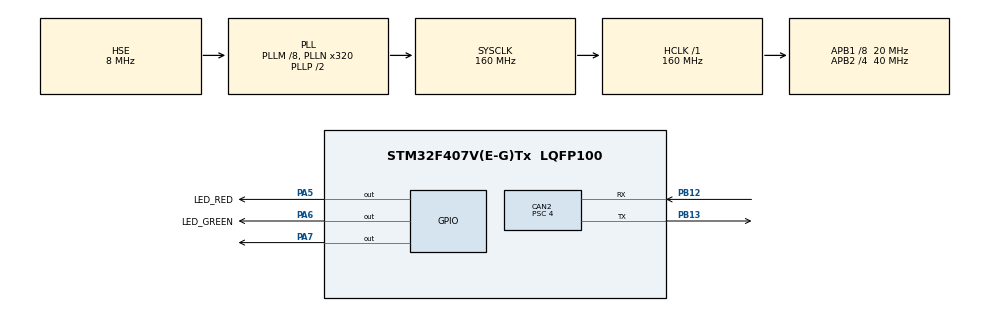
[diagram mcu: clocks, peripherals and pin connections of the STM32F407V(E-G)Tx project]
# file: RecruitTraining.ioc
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CAN2.BS1=CAN_BS1_5TQ
CAN2.BS2=CAN_BS2_4TQ
CAN2.CalculateTimeQuantum=200.0
CAN2.Mode=CAN_MODE_NORMAL
CAN2.Prescaler=4
FREERTOS.Tasks01=defaultTask,24,128,StartDefaultTask,Default,NULL,Dynamic,NULL,NULL
Mcu.Family=STM32F4
Mcu.Name=STM32F407V(E-G)Tx
Mcu.Package=LQFP100
NVIC.PriorityGroup=NVIC_PRIORITYGROUP_4
NVIC.TIM2_IRQn=true\:0\:0\:false\:false\:true\:false\:false\:true
NVIC.TimeBase=TIM2_IRQn
NVIC.TimeBaseIP=TIM2
PA13.GPIO_Label=SWDIO
PA13.Mode=Trace_Asynchronous_SW
PA13.Signal=SYS_JTMS-SWDIO
PA14.GPIO_Label=SWCLK
PA14.Mode=Trace_Asynchronous_SW
PA14.Signal=SYS_JTCK-SWCLK
PA5.GPIO_Label=LED_RED
PA5.Signal=GPIO_Output
PA6.GPIO_Label=LED_GREEN
PA6.Signal=GPIO_Output
PA7.Signal=GPIO_Output
PB12.Mode=Slave
PB12.Signal=CAN2_RX
PB13.Mode=Slave
PB13.Signal=CAN2_TX
PB3.GPIO_Label=SWO
PB3.Mode=Trace_Asynchronous_SW
PB3.Signal=SYS_JTDO-SWO
PH0-OSC_IN.GPIO_Label=PH0-OSC_IN
PH0-OSC_IN.Mode=HSE-External-Oscillator
PH0-OSC_IN.Signal=RCC_OSC_IN
PH1-OSC_OUT.GPIO_Label=PH1-OSC_OUT
PH1-OSC_OUT.Mode=HSE-External-Oscillator
PH1-OSC_OUT.Signal=RCC_OSC_OUT
ProjectManager.HeapSize=0x200
ProjectManager.StackSize=0x400
ProjectManager.TargetToolchain=Makefile
RCC.48MHZClocksFreq_Value=45714285.71428572
RCC.AHBFreq_Value=160000000
RCC.APB1CLKDivider=RCC_HCLK_DIV8
RCC.APB1Freq_Value=20000000
RCC.APB1TimFreq_Value=40000000
RCC.APB2CLKDivider=RCC_HCLK_DIV4
RCC.APB2Freq_Value=40000000
RCC.APB2TimFreq_Value=80000000
RCC.CortexFreq_Value=160000000
RCC.HCLKFreq_Value=160000000
RCC.HSE_VALUE=8000000
RCC.HSI_VALUE=16000000
RCC.LSE_VALUE=32768
RCC.PLLM=8
RCC.PLLN=320
RCC.PLLQ=7
RCC.PLLSourceVirtual=RCC_PLLSOURCE_HSE
RCC.SYSCLKFreq_VALUE=160000000
RCC.SYSCLKSource=RCC_SYSCLKSOURCE_PLLCLK
RCC.VCOOutputFreq_Value=320000000
VP_FREERTOS_VS_CMSIS_V2.Mode=CMSIS_V2
VP_SYS_VS_tim2.Mode=TIM2
board=STM32F407G-DISC1

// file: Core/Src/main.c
/* USER CODE BEGIN Header */
/**
  ******************************************************************************
  * @file           : main.c
  * @brief          : Main program body
  ******************************************************************************
  * @attention
  *
  * <h2><center>&copy; Copyright (c) 2019 STMicroelectronics.
  * All rights reserved.</center></h2>
  *
  * This software component is licensed by ST under Ultimate Liberty license
  * SLA0044, the "License"; You may not use this file except in compliance with
  * the License. You may obtain a copy of the License at:
  *                             www.st.com/SLA0044
  *
  ******************************************************************************
  */
/* USER CODE END Header */

#include "main.h"
#include "cmsis_os.h"

/* USER CODE BEGIN Includes */
#include "BlueLedToggleTask.h"
#include "GreenLedToggleTask.h"
/* USER CODE END Includes */

CAN_HandleTypeDef hcan2;

osThreadId_t defaultTaskHandle;
/* USER CODE BEGIN PV */
static const uint32_t BLUE_MESSAGE_STDID = 0xAAA;
static const uint32_t GREEN_MESSAGE_STDID = 0xBBB;

CAN_TxHeaderTypeDef canHeader;

osThreadId_t blueLedTaskHandle;
osThreadId_t greenLedTaskHandle;

uint8_t blueLedToggleFlag;
uint8_t greenLedToggleFlag;
/* USER CODE END PV */

void SystemClock_Config(void);
static void MX_GPIO_Init(void);
static void MX_CAN2_Init(void);
void StartDefaultTask(void* argument);

/* USER CODE BEGIN PFP */
static void MX_CAN2_UserInit(void);
/* USER CODE END PFP */

int main(void)
{

    /* MCU Configuration--------------------------------------------------------*/

    /* Reset of all peripherals, Initializes the Flash interface and the Systick. */
    HAL_Init();

    /* Configure the system clock */
    SystemClock_Config();

    /* Initialize all configured peripherals */
    MX_GPIO_Init();
    MX_CAN2_Init();

    /* USER CODE BEGIN 2 */
    MX_CAN2_UserInit();
    //Activate Can Recieve Interrupts
    if (HAL_CAN_ActivateNotification(&hcan2, CAN_IT_RX_FIFO0_MSG_PENDING |
                                    CAN_IT_ERROR_WARNING |
                                    CAN_IT_ERROR_PASSIVE |
                                    CAN_IT_BUSOFF |
                                    CAN_IT_LAST_ERROR_CODE |
                                    CAN_IT_ERROR) != HAL_OK)
    {
        /* Reception error */
        Error_Handler();
    }
    // Start CAN Module
    if(HAL_CAN_Start(&hcan2) != HAL_OK)
    {
        Error_Handler();
    }

    /* USER CODE END 2 */
    osKernelInitialize();

    /* USER CODE BEGIN RTOS_MUTEX */
    //TODO: Define and create mutexes and mutex attributes
    const osMutexAttr_t CanMutexAttr =
    {
        "CanMutexAttr",
        0, // TODO perhaps osMutexRecursive
        NULL,
        0
    };
    osMutexId_t canMutexHandle = osMutexNew(&CanMutexAttr);
    /* add mutexes, ... */
    /* USER CODE END RTOS_MUTEX */

    /* Create the thread(s) */
    /* definition and creation of defaultTask */
    const osThreadAttr_t defaultTask_attributes =
    {
        .name = "defaultTask",
        .priority = (osPriority_t) osPriorityNormal,
        .stack_size = 128
    };
    defaultTaskHandle = osThreadNew(StartDefaultTask, NULL, &defaultTask_attributes);

    /* USER CODE BEGIN RTOS_THREADS */
    //TODO: Create threads and thread attributes
    const osThreadAttr_t blueLedTask_attributes =
    {
        .name = "blueLedTask",
        .priority = (osPriority_t) osPriorityNormal,
        .stack_size = 128
    };
    blueLedTaskHandle = osThreadNew((osThreadFunc_t) blueLedToggleTask, &canMutexHandle, &blueLedTask_attributes);

    const osThreadAttr_t greenLedTask_attributes =
    {
        .name = "greenLedTask",
        .priority = (osPriority_t) osPriorityNormal,
        .stack_size = 128
    };
    greenLedTaskHandle = osThreadNew((osThreadFunc_t) greenLedToggleTask, &canMutexHandle, &greenLedTask_attributes);
    /* add threads, ... */
    /* USER CODE END RTOS_THREADS */

    /* Start scheduler */
    osKernelStart();

    /* We should never get here as control is now taken by the scheduler */

    /* Infinite loop */
    while (1)
    {

    }
}

void SystemClock_Config(void)
{
    RCC_OscInitTypeDef RCC_OscInitStruct = {0};
    RCC_ClkInitTypeDef RCC_ClkInitStruct = {0};

    /** Configure the main internal regulator output voltage
    */
    __HAL_RCC_PWR_CLK_ENABLE();
    __HAL_PWR_VOLTAGESCALING_CONFIG(PWR_REGULATOR_VOLTAGE_SCALE1);
    /** Initializes the CPU, AHB and APB busses clocks
    */
    RCC_OscInitStruct.OscillatorType = RCC_OSCILLATORTYPE_HSE;
    RCC_OscInitStruct.HSEState = RCC_HSE_ON;
    RCC_OscInitStruct.PLL.PLLState = RCC_PLL_ON;
    RCC_OscInitStruct.PLL.PLLSource = RCC_PLLSOURCE_HSE;
    RCC_OscInitStruct.PLL.PLLM = 8;
    RCC_OscInitStruct.PLL.PLLN = 320;
    RCC_OscInitStruct.PLL.PLLP = RCC_PLLP_DIV2;
    RCC_OscInitStruct.PLL.PLLQ = 7;

    if (HAL_RCC_OscConfig(&RCC_OscInitStruct) != HAL_OK)
    {
        Error_Handler();
    }

    /** Initializes the CPU, AHB and APB busses clocks
    */
    RCC_ClkInitStruct.ClockType = RCC_CLOCKTYPE_HCLK | RCC_CLOCKTYPE_SYSCLK
                                  | RCC_CLOCKTYPE_PCLK1 | RCC_CLOCKTYPE_PCLK2;
    RCC_ClkInitStruct.SYSCLKSource = RCC_SYSCLKSOURCE_PLLCLK;
    RCC_ClkInitStruct.AHBCLKDivider = RCC_SYSCLK_DIV1;
    RCC_ClkInitStruct.APB1CLKDivider = RCC_HCLK_DIV8;
    RCC_ClkInitStruct.APB2CLKDivider = RCC_HCLK_DIV4;

    if (HAL_RCC_ClockConfig(&RCC_ClkInitStruct, FLASH_LATENCY_5) != HAL_OK)
    {
        Error_Handler();
    }
}

static void MX_CAN2_Init(void)
{

    hcan2.Instance = CAN2;
    hcan2.Init.Prescaler = 4;
    hcan2.Init.Mode = CAN_MODE_NORMAL;
    hcan2.Init.SyncJumpWidth = CAN_SJW_1TQ;
    hcan2.Init.TimeSeg1 = CAN_BS1_5TQ;
    hcan2.Init.TimeSeg2 = CAN_BS2_4TQ;
    hcan2.Init.TimeTriggeredMode = DISABLE;
    hcan2.Init.AutoBusOff = DISABLE;
    hcan2.Init.AutoWakeUp = DISABLE;
    hcan2.Init.AutoRetransmission = DISABLE;
    hcan2.Init.ReceiveFifoLocked = DISABLE;
    hcan2.Init.TransmitFifoPriority = DISABLE;

    if (HAL_CAN_Init(&hcan2) != HAL_OK)
    {
        Error_Handler();
    }

}

static void MX_GPIO_Init(void)
{
    GPIO_InitTypeDef GPIO_InitStruct = {0};

    /* GPIO Ports Clock Enable */
    __HAL_RCC_GPIOH_CLK_ENABLE();
    __HAL_RCC_GPIOA_CLK_ENABLE();
    __HAL_RCC_GPIOB_CLK_ENABLE();

    /*Configure GPIO pin Output Level */
    HAL_GPIO_WritePin(GPIOA, LED_RED_Pin | LED_GREEN_Pin | GPIO_PIN_7, GPIO_PIN_RESET);

    /*Configure GPIO pins : LED_RED_Pin LED_GREEN_Pin PA7 */
    GPIO_InitStruct.Pin = LED_RED_Pin | LED_GREEN_Pin | GPIO_PIN_7;
    GPIO_InitStruct.Mode = GPIO_MODE_OUTPUT_PP;
    GPIO_InitStruct.Pull = GPIO_NOPULL;
    GPIO_InitStruct.Speed = GPIO_SPEED_FREQ_LOW;
    HAL_GPIO_Init(GPIOA, &GPIO_InitStruct);

}

/* USER CODE BEGIN 4 */
void HAL_CAN_RxFifo0MsgPendingCallback(CAN_HandleTypeDef* hcan)
{
    CAN_RxHeaderTypeDef hdr;
    uint8_t             data[8] = {0};

    if (HAL_CAN_GetRxMessage(hcan, CAN_RX_FIFO0, &hdr, data) != HAL_OK)
    {
        return;
    }

    //TODO: Match StdId of header and data length content for green and blue messages and check data for set bit of toggling green and blue led
    if (hdr.DLC == 1){
        if(hdr.StdId == BLUE_MESSAGE_STDID)
        {
            if ((data[0] & 0b10001001) == 0b10001001) // check that bits 0, 3, and 7 are HIGH
            {
                blueLedToggleFlag = 1;
            }
            else
            {
                blueLedToggleFlag = 0;
            }
        }

        if(hdr.StdId == GREEN_MESSAGE_STDID)
        {
           if (data[0] == 0b00000011) // check it is exactly 0b00000011
            {
                greenLedToggleFlag = 1;
            }
            else
            {
                greenLedToggleFlag = 0;
            }
        }
    }
}

static void MX_CAN2_UserInit(void)
{
    CAN_FilterTypeDef blueMessageFilterConfig;
    blueMessageFilterConfig.FilterBank = 0; // Use first filter bank
    blueMessageFilterConfig.FilterMode = CAN_FILTERMODE_IDLIST; //Look for specific CAN messages
    blueMessageFilterConfig.FilterScale = CAN_FILTERSCALE_32BIT;
    blueMessageFilterConfig.FilterIdHigh = BLUE_MESSAGE_STDID << 5; // Filter registers need to be shifted left 5 bits
    blueMessageFilterConfig.FilterIdLow = 0;
    blueMessageFilterConfig.FilterMaskIdHigh = 0;
    blueMessageFilterConfig.FilterFIFOAssignment = 0; //unused
    blueMessageFilterConfig.FilterActivation = ENABLE;
    blueMessageFilterConfig.SlaveStartFilterBank = 0; // set all filter banks for CAN2

    if (HAL_CAN_ConfigFilter(&hcan2, &blueMessageFilterConfig) != HAL_OK)
    {
        /* Filter configuration Error */
        Error_Handler();
    }

    //TODO: Configure filter for green message
    CAN_FilterTypeDef greenMessageFilterConfig;
    greenMessageFilterConfig.FilterBank = 1;
    greenMessageFilterConfig.FilterMode = CAN_FILTERMODE_IDLIST;
    greenMessageFilterConfig.FilterScale = CAN_FILTERSCALE_32BIT;
    greenMessageFilterConfig.FilterIdHigh = GREEN_MESSAGE_STDID << 5;
    greenMessageFilterConfig.FilterIdLow = 0;
    greenMessageFilterConfig.FilterMaskIdHigh = 0;
    greenMessageFilterConfig.FilterFIFOAssignment = 0;
    greenMessageFilterConfig.FilterActivation = ENABLE;
    greenMessageFilterConfig.SlaveStartFilterBank = 0;

    if (HAL_CAN_ConfigFilter(&hcan2, &greenMessageFilterConfig) != HAL_OK)
    {
        Error_Handler();
    }

    //TODO: Configure CAN_TX header
    canHeader.ExtId = 0;
    canHeader.RTR = CAN_RTR_DATA;
    canHeader.IDE = CAN_ID_STD;
    canHeader.TransmitGlobalTime = DISABLE;
}
/* USER CODE END 4 */

void StartDefaultTask(void* argument)
{

    for (;;)
    {
        osDelay(1);
    }
}

void HAL_TIM_PeriodElapsedCallback(TIM_HandleTypeDef* htim)
{
    if (htim->Instance == TIM2)
    {
        HAL_IncTick();
    }

}

void Error_Handler(void)
{
}

/************************ (C) COPYRIGHT STMicroelectronics *****END OF FILE****/
